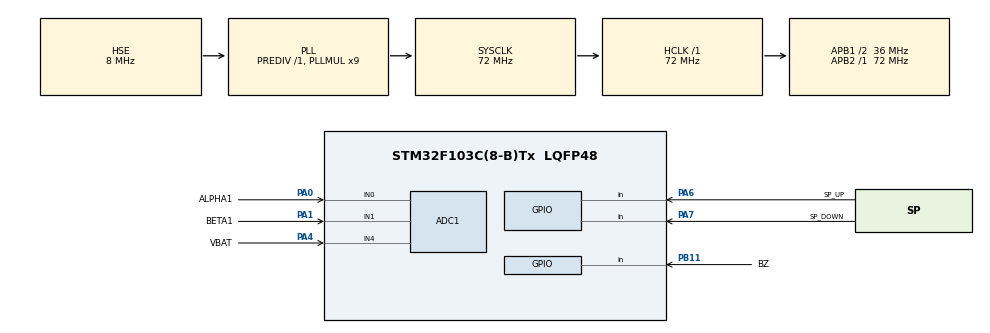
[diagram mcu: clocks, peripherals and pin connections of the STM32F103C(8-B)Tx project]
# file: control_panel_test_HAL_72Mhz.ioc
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ADC1.Channel-1\#ChannelInjectedConversion=ADC_CHANNEL_0
ADC1.Channel-2\#ChannelInjectedConversion=ADC_CHANNEL_1
ADC1.Channel-3\#ChannelInjectedConversion=ADC_CHANNEL_4
ADC1.EnableInjectedConversion=ENABLE
ADC1.EnableRegularConversion=DISABLE
ADC1.InjNumberOfConversion=3
ADC1.InjectedOffset-1\#ChannelInjectedConversion=0
ADC1.InjectedOffset-2\#ChannelInjectedConversion=0
ADC1.InjectedOffset-3\#ChannelInjectedConversion=0
ADC1.InjectedRank-1\#ChannelInjectedConversion=1
ADC1.InjectedRank-2\#ChannelInjectedConversion=2
ADC1.InjectedRank-3\#ChannelInjectedConversion=3
ADC1.SamplingTime-1\#ChannelInjectedConversion=ADC_SAMPLETIME_28CYCLES_5
ADC1.SamplingTime-2\#ChannelInjectedConversion=ADC_SAMPLETIME_28CYCLES_5
ADC1.SamplingTime-3\#ChannelInjectedConversion=ADC_SAMPLETIME_28CYCLES_5
ADC1.master=1
Mcu.Family=STM32F1
Mcu.Name=STM32F103C(8-B)Tx
Mcu.Package=LQFP48
NVIC.PriorityGroup=NVIC_PRIORITYGROUP_4
PA0-WKUP.GPIO_Label=ALPHA1
PA0-WKUP.Signal=ADCx_IN0
PA1.GPIO_Label=BETA1
PA1.Signal=ADCx_IN1
PA13.Mode=Trace_Asynchronous_SW
PA13.Signal=SYS_JTMS-SWDIO
PA14.Mode=Trace_Asynchronous_SW
PA14.Signal=SYS_JTCK-SWCLK
PA4.GPIO_Label=VBAT
PA4.Signal=ADCx_IN4
PA6.GPIO_Label=SP_UP
PA6.GPIO_PuPd=GPIO_PULLDOWN
PA6.Signal=GPIO_Input
PA7.GPIO_Label=SP_DOWN
PA7.GPIO_PuPd=GPIO_PULLDOWN
PA7.Signal=GPIO_Input
PB11.GPIO_Label=BZ
PB11.GPIO_PuPd=GPIO_PULLDOWN
PB11.Signal=GPIO_Input
PB3.Mode=Trace_Asynchronous_SW
PB3.Signal=SYS_JTDO-TRACESWO
PD0-OSC_IN.Mode=HSE-External-Oscillator
PD0-OSC_IN.Signal=RCC_OSC_IN
PD1-OSC_OUT.Mode=HSE-External-Oscillator
PD1-OSC_OUT.Signal=RCC_OSC_OUT
ProjectManager.HeapSize=0x200
ProjectManager.StackSize=0x400
ProjectManager.TargetToolchain=STM32CubeIDE
RCC.ADCPresc=RCC_ADCPCLK2_DIV6
RCC.AHBFreq_Value=72000000
RCC.APB1CLKDivider=RCC_HCLK_DIV2
RCC.APB1Freq_Value=36000000
RCC.APB1TimFreq_Value=72000000
RCC.APB2Freq_Value=72000000
RCC.APB2TimFreq_Value=72000000
RCC.HCLKFreq_Value=72000000
RCC.PLLMUL=RCC_PLL_MUL9
RCC.PLLSourceVirtual=RCC_PLLSOURCE_HSE
RCC.SYSCLKFreq_VALUE=72000000
RCC.SYSCLKSource=RCC_SYSCLKSOURCE_PLLCLK
RCC.USBFreq_Value=72000000
SH.ADCx_IN0.0=ADC1_IN0,IN0
SH.ADCx_IN1.0=ADC1_IN1,IN1
SH.ADCx_IN4.0=ADC1_IN4,IN4
board=custom

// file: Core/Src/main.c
/* USER CODE BEGIN Header */
/**
  ******************************************************************************
  * @file           : main.c
  * @brief          : Main program body
  ******************************************************************************
  * @attention
  *
  * Copyright (c) 2024 STMicroelectronics.
  * All rights reserved.
  *
  * This software is licensed under terms that can be found in the LICENSE file
  * in the root directory of this software component.
  * If no LICENSE file comes with this software, it is provided AS-IS.
  *
  ******************************************************************************
  */
/* USER CODE END Header */
#include "main.h"

/* USER CODE BEGIN Includes */
#include "stdio.h"
/* USER CODE END Includes */

/* USER CODE BEGIN PM */
volatile uint32_t speed = 0;

volatile uint32_t SP_UP_lastSt = 0;
volatile uint32_t SP_UP_curSt = 0;
volatile uint32_t SP_UP_isPressed = 0;

volatile uint32_t SP_DOWN_lastSt = 0;
volatile uint32_t SP_DOWN_curSt = 0;
volatile uint32_t SP_DOWN_isPressed = 0;

volatile uint32_t BZ_lastSt = 0;
volatile uint32_t BZ_curSt = 0;
volatile uint32_t BZ_isPressed = 0;

int __io_putchar(int ch){
	ITM_SendChar(ch);
	return ch;
}

void beep(uint32_t count, uint32_t ms) { // function for zummer signal
	for (int f = 0; f < count; f++) {
		GPIOA->ODR |= GPIO_ODR_ODR15;
		HAL_Delay(ms);//delay_ms(ms);
		GPIOA->ODR &= ~GPIO_ODR_ODR15;
		HAL_Delay(ms);//delay_ms(ms);

	}
}

void displaySpeed(uint32_t speed) { // function for display speed
	switch (speed) {
	case 0:
		GPIOB->ODR |= GPIO_ODR_ODR0;
		GPIOB->ODR &= ~GPIO_ODR_ODR1;
		GPIOB->ODR &= ~GPIO_ODR_ODR2;
		GPIOB->ODR &= ~GPIO_ODR_ODR4;
		GPIOB->ODR &= ~GPIO_ODR_ODR5;
		break;
	case 1:
		GPIOB->ODR |= GPIO_ODR_ODR0;
		GPIOB->ODR |= GPIO_ODR_ODR1;
		GPIOB->ODR &= ~GPIO_ODR_ODR2;
		GPIOB->ODR &= ~GPIO_ODR_ODR4;
		GPIOB->ODR &= ~GPIO_ODR_ODR5;
		break;
	case 2:
		GPIOB->ODR |= GPIO_ODR_ODR0;
		GPIOB->ODR |= GPIO_ODR_ODR1;
		GPIOB->ODR |= GPIO_ODR_ODR2;
		GPIOB->ODR &= ~GPIO_ODR_ODR4;
		GPIOB->ODR &= ~GPIO_ODR_ODR5;
		break;
	case 3:
		GPIOB->ODR |= GPIO_ODR_ODR0;
		GPIOB->ODR |= GPIO_ODR_ODR1;
		GPIOB->ODR |= GPIO_ODR_ODR2;
		GPIOB->ODR |= GPIO_ODR_ODR4;
		GPIOB->ODR &= ~GPIO_ODR_ODR5;
		break;
	case 4:
		GPIOB->ODR |= GPIO_ODR_ODR0;
		GPIOB->ODR |= GPIO_ODR_ODR1;
		GPIOB->ODR |= GPIO_ODR_ODR2;
		GPIOB->ODR |= GPIO_ODR_ODR4;
		GPIOB->ODR |= GPIO_ODR_ODR5;
		break;
	}
}

uint32_t ADC_Read_VBAT(ADC_HandleTypeDef* hadc) {
//	ADC1->CR2 &= ~(ADC_CR2_ADON); // turn of adc
//	// select 4 channel
//	ADC1->SQR1 = 0; // 1 regular channel
//	ADC1->SQR2 = 0x00000000;
//	ADC1->SQR3 = 0x00000100; // 1 convert - channel 4
//	ADC1->CR2 |= (ADC_CR2_ADON); // turn on adc
//	ADC1->CR2 |= ADC_CR2_SWSTART; // start adc convert
//	while (!(ADC1->SR & ADC_SR_EOC)) {
//	}; //wait for end of convert
	 HAL_ADCEx_InjectedStart(hadc);
	 HAL_ADCEx_InjectedPollForConversion(hadc, 10);
	 uint32_t vBat = HAL_ADCEx_InjectedGetValue(hadc, ADC_INJECTED_RANK_3);

	return vBat;  //ADC1->DR; // read adc data
}

uint32_t ADC_Read_JoystickA(ADC_HandleTypeDef* hadc) {
//	ADC1->CR2 &= ~(ADC_CR2_ADON); // turn of adc
//	// select 0 channel
//	ADC1->SQR1 = 0; // 1 regular channel
//	ADC1->SQR2 = 0x00000000;
//	ADC1->SQR3 = 0x00000000; // 1 convert - channel 0
//	ADC1->CR2 |= (ADC_CR2_ADON); // turn on adc
//	ADC1->CR2 |= ADC_CR2_SWSTART; // start adc convert
//	while (!(ADC1->SR & ADC_SR_EOC)) {
//	}; //wait for end of convert
	HAL_ADCEx_InjectedStart(hadc);
    HAL_ADCEx_InjectedPollForConversion(hadc, 10);
	uint32_t jA = HAL_ADCEx_InjectedGetValue(hadc, ADC_INJECTED_RANK_1);
	return  jA; //ADC1->DR; // read adc data
}

uint32_t ADC_Read_JoystickB(ADC_HandleTypeDef* hadc) {
//	ADC1->CR2 &= ~(ADC_CR2_ADON); // turn of adc
//	// select 1 channel
//	ADC1->SQR1 = 0; // 1 regular channel
//	ADC1->SQR2 = 0x00000000;
//	ADC1->SQR3 = 0x00000001; // 1 convert - channel 1
//	ADC1->CR2 |= (ADC_CR2_ADON); // turn on adc
//	ADC1->CR2 |= ADC_CR2_SWSTART; // start adc convert
//	while (!(ADC1->SR & ADC_SR_EOC)) {
//	}; //wait for end of convert
	  HAL_ADCEx_InjectedStart(hadc);
	  HAL_ADCEx_InjectedPollForConversion(hadc, 10);
	  uint32_t jB = HAL_ADCEx_InjectedGetValue(hadc, ADC_INJECTED_RANK_2);
	return jB; //ADC1->DR; // read adc data
}

void displayBat(uint32_t batVal) {
	if (batVal < 2270) {
		GPIOB->ODR |= GPIO_ODR_ODR6;
		GPIOB->ODR &= ~GPIO_ODR_ODR7;
		GPIOB->ODR &= ~GPIO_ODR_ODR8;
		GPIOB->ODR &= ~GPIO_ODR_ODR9;
		GPIOB->ODR &= ~GPIO_ODR_ODR10;
	} else if ((batVal >= 2388) && (batVal < 2490)) {
		GPIOB->ODR |= GPIO_ODR_ODR6;
		GPIOB->ODR |= GPIO_ODR_ODR7;
		GPIOB->ODR &= ~GPIO_ODR_ODR8;
		GPIOB->ODR &= ~GPIO_ODR_ODR9;
		GPIOB->ODR &= ~GPIO_ODR_ODR10;
	} else if ((batVal >= 2490) && (batVal < 2613)) {
		GPIOB->ODR |= GPIO_ODR_ODR6;
		GPIOB->ODR |= GPIO_ODR_ODR7;
		GPIOB->ODR |= GPIO_ODR_ODR8;
		GPIOB->ODR &= ~GPIO_ODR_ODR9;
		GPIOB->ODR &= ~GPIO_ODR_ODR10;
	} else if ((batVal >= 2613) && (batVal < 2728)) {
		GPIOB->ODR |= GPIO_ODR_ODR6;
		GPIOB->ODR |= GPIO_ODR_ODR7;
		GPIOB->ODR |= GPIO_ODR_ODR8;
		GPIOB->ODR |= GPIO_ODR_ODR9;
		GPIOB->ODR &= ~GPIO_ODR_ODR10;
	} else if ((batVal >= 2728)) {
		GPIOB->ODR |= GPIO_ODR_ODR6;
		GPIOB->ODR |= GPIO_ODR_ODR7;
		GPIOB->ODR |= GPIO_ODR_ODR8;
		GPIOB->ODR |= GPIO_ODR_ODR9;
		GPIOB->ODR |= GPIO_ODR_ODR10;
	}
}

/* USER CODE END PM */

ADC_HandleTypeDef hadc1;

void SystemClock_Config(void);
static void MX_GPIO_Init(void);
static void MX_ADC1_Init(void);

int main(void)
{

  /* MCU Configuration--------------------------------------------------------*/

  /* Reset of all peripherals, Initializes the Flash interface and the Systick. */
  HAL_Init();

  /* Configure the system clock */
  SystemClock_Config();

  /* Initialize all configured peripherals */
  MX_ADC1_Init();
  /* USER CODE BEGIN 2 */
  MX_GPIO_Init();
  HAL_ADCEx_Calibration_Start(&hadc1);

	// setup leds
	GPIOB->CRL &= ~(GPIO_CRL_MODE0 | GPIO_CRL_CNF0 | GPIO_CRL_MODE1
			| GPIO_CRL_CNF1 | GPIO_CRL_MODE2 | GPIO_CRL_CNF2 |
			GPIO_CRL_MODE4 | GPIO_CRL_CNF4 | GPIO_CRL_MODE5 | GPIO_CRL_CNF5
			| GPIO_CRL_MODE6 | GPIO_CRL_CNF6 |
			GPIO_CRL_MODE7 | GPIO_CRL_CNF7);
	GPIOB->CRH &= ~( GPIO_CRH_MODE8 | GPIO_CRH_CNF8 | GPIO_CRH_MODE9
			| GPIO_CRH_CNF9 |
			GPIO_CRH_MODE10 | GPIO_CRH_CNF10); //reset leds

	GPIOB->CRL |= (GPIO_CRL_MODE0_0 | GPIO_CRL_MODE1_0 | GPIO_CRL_MODE2_0
			| GPIO_CRL_MODE4_0 | GPIO_CRL_MODE5_0 |
			GPIO_CRL_MODE6_0 | GPIO_CRL_MODE7_0);
	GPIOB->CRH |= (GPIO_CRH_MODE8_0 | GPIO_CRH_MODE9_0 | GPIO_CRH_MODE10_0); //leds to output with max speed 10MHz

  beep(2, 500);
  /* USER CODE END 2 */

  /* Infinite loop */
  /* USER CODE BEGIN WHILE */
  while (1)
  {
	  SP_UP_curSt = HAL_GPIO_ReadPin(SP_UP_GPIO_Port, SP_UP_Pin);
	  SP_DOWN_curSt = HAL_GPIO_ReadPin(SP_DOWN_GPIO_Port, SP_DOWN_Pin);
	  BZ_curSt = HAL_GPIO_ReadPin(BZ_GPIO_Port, BZ_Pin);
	  uint32_t A1 = ADC_Read_JoystickA(&hadc1);
	  uint32_t B1 = ADC_Read_JoystickB(&hadc1);
	  uint32_t vBat = ADC_Read_VBAT(&hadc1);

	  if ((SP_UP_curSt == 1)&&(SP_UP_lastSt == 0)){
		  SP_UP_isPressed = 1;
	  }else{
		  SP_UP_isPressed = 0;
	  }

	  if (SP_UP_isPressed == 1){
		  if(speed < 5){
			  speed++;
			  //printf("up, speed %li\n", speed);
		  }
	  }

	  if ((SP_DOWN_curSt == 1)&&(SP_DOWN_lastSt == 0)){
		  SP_DOWN_isPressed = 1;
	  }else{
		  SP_DOWN_isPressed = 0;
	  }

	  if (SP_DOWN_isPressed == 1){
		  if(speed > 0){
			  speed--;
			  //printf("down, speed %li\n", speed);
		  }
	  }

	  if ((BZ_curSt == 1)&&(BZ_lastSt == 0)){
		  BZ_isPressed = 1;
	  }else{
		  BZ_isPressed = 0;
	  }

	  if (BZ_isPressed == 1){
		  beep(1,1000);
		  //printf("beep! \n");
	  }
	  displaySpeed(speed);
	  displayBat(vBat);

	  printf("ControlPanel Test, btn_UP_isPressed: %li, btn_BZ_isPressed: %li, btn_DOWN_isPressed: %li, speed: %li, Joystick Alpha 1: %lu, Joystick Beta 1: %lu, vBat: %lu \n", SP_UP_isPressed, BZ_isPressed, SP_DOWN_isPressed, speed, A1, B1, vBat);
	  SP_UP_lastSt = SP_UP_curSt;
	  SP_DOWN_lastSt = SP_DOWN_curSt;
	  BZ_lastSt = BZ_curSt;
	  HAL_Delay(100);
    /* USER CODE END WHILE */

  }
}

void SystemClock_Config(void)
{
  RCC_OscInitTypeDef RCC_OscInitStruct = {0};
  RCC_ClkInitTypeDef RCC_ClkInitStruct = {0};
  RCC_PeriphCLKInitTypeDef PeriphClkInit = {0};

  /** Initializes the RCC Oscillators according to the specified parameters
  * in the RCC_OscInitTypeDef structure.
  */
  RCC_OscInitStruct.OscillatorType = RCC_OSCILLATORTYPE_HSE;
  RCC_OscInitStruct.HSEState = RCC_HSE_ON;
  RCC_OscInitStruct.HSEPredivValue = RCC_HSE_PREDIV_DIV1;
  RCC_OscInitStruct.HSIState = RCC_HSI_ON;
  RCC_OscInitStruct.PLL.PLLState = RCC_PLL_ON;
  RCC_OscInitStruct.PLL.PLLSource = RCC_PLLSOURCE_HSE;
  RCC_OscInitStruct.PLL.PLLMUL = RCC_PLL_MUL9;
  if (HAL_RCC_OscConfig(&RCC_OscInitStruct) != HAL_OK)
  {
    Error_Handler();
  }

  /** Initializes the CPU, AHB and APB buses clocks
  */
  RCC_ClkInitStruct.ClockType = RCC_CLOCKTYPE_HCLK|RCC_CLOCKTYPE_SYSCLK
                              |RCC_CLOCKTYPE_PCLK1|RCC_CLOCKTYPE_PCLK2;
  RCC_ClkInitStruct.SYSCLKSource = RCC_SYSCLKSOURCE_PLLCLK;
  RCC_ClkInitStruct.AHBCLKDivider = RCC_SYSCLK_DIV1;
  RCC_ClkInitStruct.APB1CLKDivider = RCC_HCLK_DIV2;
  RCC_ClkInitStruct.APB2CLKDivider = RCC_HCLK_DIV1;

  if (HAL_RCC_ClockConfig(&RCC_ClkInitStruct, FLASH_LATENCY_2) != HAL_OK)
  {
    Error_Handler();
  }
  PeriphClkInit.PeriphClockSelection = RCC_PERIPHCLK_ADC;
  PeriphClkInit.AdcClockSelection = RCC_ADCPCLK2_DIV6;
  if (HAL_RCCEx_PeriphCLKConfig(&PeriphClkInit) != HAL_OK)
  {
    Error_Handler();
  }
}

static void MX_ADC1_Init(void)
{

  ADC_InjectionConfTypeDef sConfigInjected = {0};

  /** Common config
  */
  hadc1.Instance = ADC1;
  hadc1.Init.ScanConvMode = ADC_SCAN_ENABLE;
  hadc1.Init.ContinuousConvMode = DISABLE;
  hadc1.Init.DiscontinuousConvMode = DISABLE;
  hadc1.Init.ExternalTrigConv = ADC_SOFTWARE_START;
  hadc1.Init.DataAlign = ADC_DATAALIGN_RIGHT;
  hadc1.Init.NbrOfConversion = 1;
  if (HAL_ADC_Init(&hadc1) != HAL_OK)
  {
    Error_Handler();
  }

  /** Configure Injected Channel
  */
  sConfigInjected.InjectedChannel = ADC_CHANNEL_0;
  sConfigInjected.InjectedRank = ADC_INJECTED_RANK_1;
  sConfigInjected.InjectedNbrOfConversion = 3;
  sConfigInjected.InjectedSamplingTime = ADC_SAMPLETIME_28CYCLES_5;
  sConfigInjected.ExternalTrigInjecConv = ADC_INJECTED_SOFTWARE_START;
  sConfigInjected.AutoInjectedConv = DISABLE;
  sConfigInjected.InjectedDiscontinuousConvMode = DISABLE;
  sConfigInjected.InjectedOffset = 0;
  if (HAL_ADCEx_InjectedConfigChannel(&hadc1, &sConfigInjected) != HAL_OK)
  {
    Error_Handler();
  }

  /** Configure Injected Channel
  */
  sConfigInjected.InjectedChannel = ADC_CHANNEL_1;
  sConfigInjected.InjectedRank = ADC_INJECTED_RANK_2;
  if (HAL_ADCEx_InjectedConfigChannel(&hadc1, &sConfigInjected) != HAL_OK)
  {
    Error_Handler();
  }

  /** Configure Injected Channel
  */
  sConfigInjected.InjectedChannel = ADC_CHANNEL_4;
  sConfigInjected.InjectedRank = ADC_INJECTED_RANK_3;
  if (HAL_ADCEx_InjectedConfigChannel(&hadc1, &sConfigInjected) != HAL_OK)
  {
    Error_Handler();
  }

}

static void MX_GPIO_Init(void)
{
  GPIO_InitTypeDef GPIO_InitStruct = {0};

  /* GPIO Ports Clock Enable */
  __HAL_RCC_GPIOD_CLK_ENABLE();
  __HAL_RCC_GPIOA_CLK_ENABLE();
  __HAL_RCC_GPIOB_CLK_ENABLE();

  /*Configure GPIO pins : SP_UP_Pin SP_DOWN_Pin */
  GPIO_InitStruct.Pin = SP_UP_Pin|SP_DOWN_Pin;
  GPIO_InitStruct.Mode = GPIO_MODE_INPUT;
  GPIO_InitStruct.Pull = GPIO_PULLDOWN;
  HAL_GPIO_Init(GPIOA, &GPIO_InitStruct);

  /*Configure GPIO pin : BZ_Pin */
  GPIO_InitStruct.Pin = BZ_Pin;
  GPIO_InitStruct.Mode = GPIO_MODE_INPUT;
  GPIO_InitStruct.Pull = GPIO_PULLDOWN;
  HAL_GPIO_Init(BZ_GPIO_Port, &GPIO_InitStruct);

}

void Error_Handler(void)
{
  __disable_irq();
  while (1)
  {
  }
}
